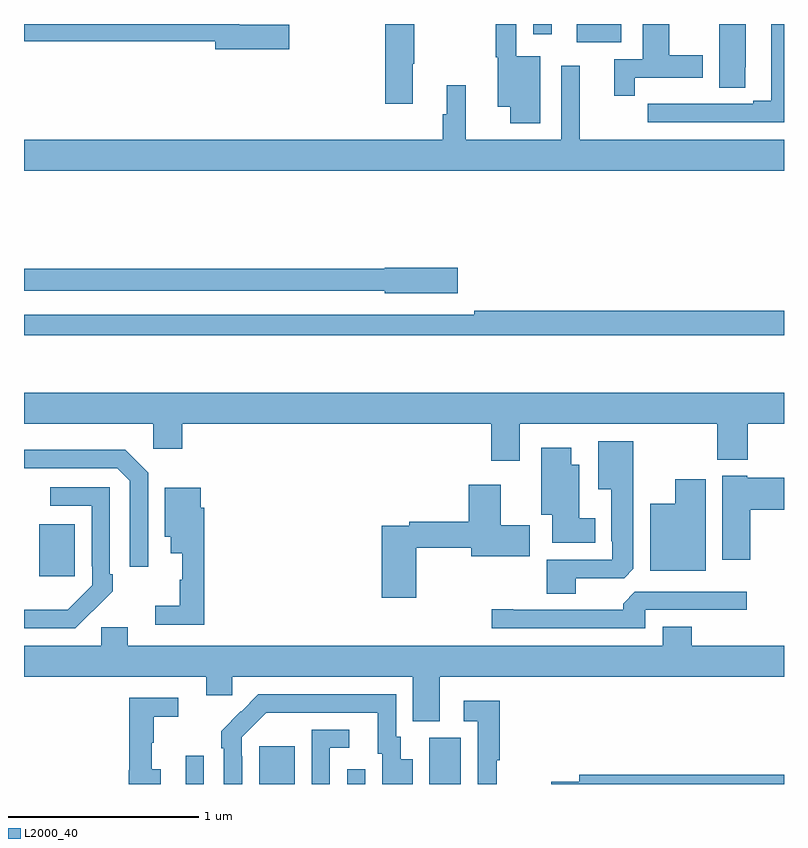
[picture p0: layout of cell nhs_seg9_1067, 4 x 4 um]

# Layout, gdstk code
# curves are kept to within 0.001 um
import gdstk
lib = gdstk.Library(unit=1e-6, precision=1e-09)
def R(c, l, rs):  # rectangles x0, y0, x1, y1
    for r in rs: c.add(gdstk.rectangle(r[:2], r[2:], *l))
def P(c, l, *ps):  # polygons
    for p in ps: c.add(gdstk.Polygon(p, *l))
L2000_40 = (2000, 40)

nhs_seg9_1067 = lib.new_cell('nhs_seg9_1067')
R(nhs_seg9_1067, L2000_40, [(169.851,1218.5,169.947,1218.649), (170.237,1218.5,170.425,1218.7), (170.7,1218.5,170.796,1218.577), (171.134,1218.5,171.298,1218.744), (169.079,1219.593,169.267,1219.867), (171.908,1222.403,172.144,1222.5), (171.681,1222.446,171.778,1222.5)])
P(nhs_seg9_1067, L2000_40, [(172.797,1222.273),(172.798,1222.273),(172.798,1222.5),(172.658,1222.5),(172.658,1222.165),(172.797,1222.165)],
  [(171.046,1222.292),(171.054,1222.292),(171.054,1222.5),(170.9,1222.5),(170.9,1222.08),(171.046,1222.08)],
  [(172.214,1222.218),(172.573,1222.218),(172.573,1222.335),(172.396,1222.335),(172.396,1222.5),(172.256,1222.5),(172.256,1222.314),(172.106,1222.314),(172.106,1222.122),(172.214,1222.122)],
  [(171.718,1222.33),(171.591,1222.33),(171.591,1222.5),(171.483,1222.5),(171.483,1222.326),(171.494,1222.326),(171.494,1222.064),(171.56,1222.064),(171.56,1221.978),(171.718,1221.978)],
  [(173,1222.5),(172.934,1222.5),(172.934,1222.095),(172.838,1222.095),(172.838,1222.08),(172.562,1222.08),(172.562,1222.081),(172.396,1222.081),(172.396,1222.08),(172.284,1222.08),(172.284,1221.984),(173,1221.984)],
  [(170.395,1222.495),(170.134,1222.495),(170.134,1222.5),(169,1222.5),(169,1222.408),(170.006,1222.408),(170.006,1222.366),(170.395,1222.366)],
  [(173,1221.892),(171.926,1221.892),(171.926,1222.279),(171.828,1222.279),(171.828,1221.892),(171.324,1221.892),(171.324,1222.177),(171.224,1222.177),(171.224,1222.026),(171.205,1222.026),(171.205,1221.892),(169,1221.892),(169,1221.728),(173,1221.728)],
  [(171.283,1221.218),(170.898,1221.218),(170.898,1221.212),(169,1221.212),(169,1221.096),(170.898,1221.096),(170.898,1221.083),(171.283,1221.083)],
  [(173,1220.99),(171.37,1220.99),(171.37,1220.97),(169,1220.97),(169,1220.862),(173,1220.862)],
  [(171.61,1220.396),(172.648,1220.396),(172.648,1220.207),(172.808,1220.207),(172.808,1220.396),(173,1220.396),(173,1220.56),(169,1220.56),(169,1220.396),(169.68,1220.396),(169.68,1220.265),(169.832,1220.265),(169.832,1220.396),(171.458,1220.396),(171.458,1220.202),(171.61,1220.202)],
  [(171.904,1219.584),(172.158,1219.584),(172.207,1219.633),(172.207,1220.305),(172.022,1220.305),(172.022,1220.051),(172.091,1220.051),(172.091,1219.777),(172.095,1219.777),(172.095,1219.68),(171.752,1219.68),(171.752,1219.501),(171.904,1219.501)],
  [(172.006,1219.9),(171.922,1219.9),(171.922,1220.179),(171.88,1220.179),(171.88,1220.269),(171.722,1220.269),(171.722,1219.916),(171.779,1219.916),(171.779,1219.769),(172.006,1219.769)],
  [(169.653,1220.139),(169.532,1220.26),(169,1220.26),(169,1220.163),(169.491,1220.163),(169.557,1220.097),(169.557,1219.644),(169.653,1219.644)],
  [(172.823,1219.943),(173,1219.943),(173,1220.113),(172.806,1220.113),(172.806,1220.122),(172.676,1220.122),(172.676,1219.68),(172.823,1219.68)],
  [(172.588,1220.104),(172.427,1220.104),(172.427,1219.975),(172.295,1219.975),(172.295,1219.622),(172.588,1219.622)],
  [(171.065,1219.744),(171.353,1219.744),(171.353,1219.7),(171.661,1219.7),(171.661,1219.863),(171.508,1219.863),(171.508,1220.074),(171.341,1220.074),(171.341,1219.88),(171.028,1219.88),(171.028,1219.86),(170.882,1219.86),(170.882,1219.479),(171.065,1219.479)],
  [(169.361,1219.411),(169.362,1219.41),(169.467,1219.515),(169.467,1219.603),(169.452,1219.603),(169.452,1220.061),(169.137,1220.061),(169.137,1219.965),(169.356,1219.965),(169.356,1219.645),(169.359,1219.645),(169.359,1219.545),(169.231,1219.417),(169,1219.416),(169,1219.32),(169.27,1219.32)],
  [(169.949,1219.955),(169.93,1219.955),(169.93,1220.059),(169.742,1220.059),(169.742,1219.802),(169.772,1219.802),(169.772,1219.715),(169.832,1219.715),(169.832,1219.575),(169.821,1219.575),(169.821,1219.439),(169.692,1219.439),(169.692,1219.338),(169.949,1219.338)],
  [(172.269,1219.416),(172.804,1219.416),(172.804,1219.512),(172.215,1219.512),(172.154,1219.45),(172.154,1219.416),(171.574,1219.416),(171.574,1219.421),(171.462,1219.421),(171.462,1219.32),(172.269,1219.32)],
  [(171.187,1219.064),(173,1219.064),(173,1219.228),(172.514,1219.228),(172.514,1219.327),(172.361,1219.327),(172.361,1219.228),(169.546,1219.228),(169.546,1219.326),(169.407,1219.326),(169.407,1219.228),(169,1219.228),(169,1219.064),(169.958,1219.064),(169.958,1218.966),(170.097,1218.966),(170.097,1219.064),(171.047,1219.064),(171.047,1218.829),(171.187,1218.829)],
  [(170.148,1218.647),(170.145,1218.647),(170.145,1218.747),(170.274,1218.876),(170.861,1218.876),(170.861,1218.66),(170.885,1218.66),(170.885,1218.5),(171.046,1218.5),(171.046,1218.631),(170.983,1218.631),(170.983,1218.75),(170.958,1218.75),(170.958,1218.972),(170.234,1218.972),(170.037,1218.777),(170.037,1218.689),(170.052,1218.689),(170.052,1218.5),(170.148,1218.5)],
  [(169.72,1218.577),(169.673,1218.577),(169.673,1218.717),(169.684,1218.717),(169.684,1218.853),(169.813,1218.853),(169.813,1218.954),(169.555,1218.954),(169.555,1218.573),(169.55,1218.573),(169.55,1218.5),(169.72,1218.5)],
  [(171.488,1218.624),(171.503,1218.624),(171.503,1218.937),(171.315,1218.937),(171.315,1218.831),(171.387,1218.831),(171.387,1218.5),(171.488,1218.5)],
  [(170.61,1218.69),(170.713,1218.69),(170.713,1218.786),(170.514,1218.786),(170.514,1218.5),(170.61,1218.5)],
  [(173,1218.548),(171.923,1218.548),(171.923,1218.512),(171.774,1218.512),(171.774,1218.5),(173,1218.5)])

lib.write_gds('nhs_seg9_1067.gds')
